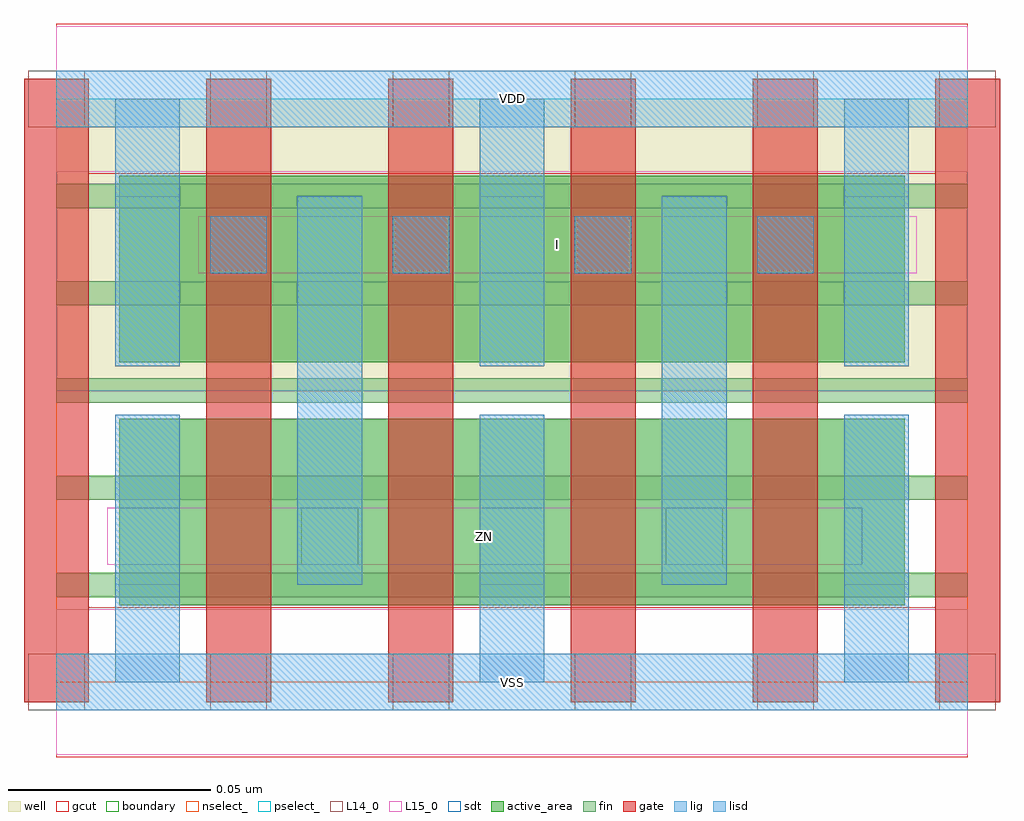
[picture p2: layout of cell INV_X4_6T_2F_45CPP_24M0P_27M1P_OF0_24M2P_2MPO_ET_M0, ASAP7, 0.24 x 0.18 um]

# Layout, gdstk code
import gdstk
lib = gdstk.Library(unit=1e-6, precision=2.5e-10)
def R(c, l, rs):  # rectangles x0, y0, x1, y1
    for r in rs: c.add(gdstk.rectangle(r[:2], r[2:], *l))
def A(c, l, x, y, w, h, nx, ny, dx, dy):  # array of equal rectangles
    R(c, l, [(x+i*dx, y+j*dy, x+i*dx+w, y+j*dy+h) for i in range(nx) for j in range(ny)])
well = (1, 0)
fin = (2, 0)
gate = (7, 0)
gcut = (10, 0)
active_area = (11, 0)
nselect_ = (12, 0)
pselect_ = (13, 0)
L14_0 = (14, 0)
L15_0 = (15, 0)
lig = (16, 0)
lisd = (17, 0)
sdt = (88, 0)
boundary = (100, 0)

inv_x4_6t_2f_45cpp_24m0p = lib.new_cell('INV_X4_6T_2F_45CPP_24M0P_27M1P_OF0_24M2P_2MPO_ET_M0')
R(inv_x4_6t_2f_45cpp_24m0p, well, [(0,0.072,0.225,0.144)])
A(inv_x4_6t_2f_45cpp_24m0p, fin, 0, 0.021, 0.225, 0.006, 1, 5, 0, 0.024)
A(inv_x4_6t_2f_45cpp_24m0p, gate, -0.008, -0.005, 0.016, 0.154, 6, 1, 0.045, 0)
R(inv_x4_6t_2f_45cpp_24m0p, gcut, [(0,-0.0185,0.225,0.0185), (-0.008,-0.005,0.008,0.149), (0.217,-0.005,0.233,0.149), (0,0.1255,0.225,0.1625)])
R(inv_x4_6t_2f_45cpp_24m0p, active_area, [(0.0155,0.019,0.2095,0.065), (0.0155,0.079,0.2095,0.125)])
R(inv_x4_6t_2f_45cpp_24m0p, nselect_, [(0,0,0.225,0.072)])
R(inv_x4_6t_2f_45cpp_24m0p, pselect_, [(0,0.072,0.225,0.144)])
A(inv_x4_6t_2f_45cpp_24m0p, L14_0, -0.007, -0.007, 0.014, 0.014, 6, 2, 0.045, 0.144)
A(inv_x4_6t_2f_45cpp_24m0p, L14_0, 0.038, 0.101, 0.014, 0.014, 4, 1, 0.045, 0)
R(inv_x4_6t_2f_45cpp_24m0p, L14_0, [(0.0605,0.029,0.0745,0.043), (0.1505,0.029,0.1645,0.043)])
R(inv_x4_6t_2f_45cpp_24m0p, L15_0, [(0,-0.018,0.225,0.018), (0.0125,0.029,0.199,0.043), (0.035,0.101,0.2125,0.115), (0,0.126,0.225,0.162)])
A(inv_x4_6t_2f_45cpp_24m0p, lig, 0.038, 0.101, 0.014, 0.014, 4, 1, 0.045, 0)
R(inv_x4_6t_2f_45cpp_24m0p, lig, [(0,-0.007,0.225,0.007), (0,0.137,0.225,0.151)])
A(inv_x4_6t_2f_45cpp_24m0p, lisd, 0.0145, 0, 0.016, 0.066, 3, 2, 0.09, 0.078)
R(inv_x4_6t_2f_45cpp_24m0p, lisd, [(0.0595,0.024,0.0755,0.12), (0.1495,0.024,0.1655,0.12)])
A(inv_x4_6t_2f_45cpp_24m0p, sdt, 0.0145, 0.024, 0.016, 0.042, 3, 2, 0.09, 0.054)
R(inv_x4_6t_2f_45cpp_24m0p, sdt, [(0.0595,0.024,0.0755,0.12), (0.1495,0.024,0.1655,0.12)])
R(inv_x4_6t_2f_45cpp_24m0p, boundary, [(0,0,0.225,0.144)])
inv_x4_6t_2f_45cpp_24m0p.add(gdstk.Label('I', (0.1237,0.108), layer=15, texttype=251))
inv_x4_6t_2f_45cpp_24m0p.add(gdstk.Label('ZN', (0.1057,0.036), layer=15, texttype=251))
inv_x4_6t_2f_45cpp_24m0p.add(gdstk.Label('VDD', (0.1125,0.144), layer=15, texttype=251))
inv_x4_6t_2f_45cpp_24m0p.add(gdstk.Label('VSS', (0.1125,0), layer=15, texttype=251))
inv_x4_6t_2f_45cpp_24m0p.add(gdstk.Label('VDD', (0.1125,0.144), layer=1, texttype=251))
inv_x4_6t_2f_45cpp_24m0p.add(gdstk.Label('VSS', (0.1125,0), layer=3, texttype=251))

lib.write_gds('INV_X4_6T_2F_45CPP_24M0P_27M1P_OF0_24M2P_2MPO_ET_M0.gds')
